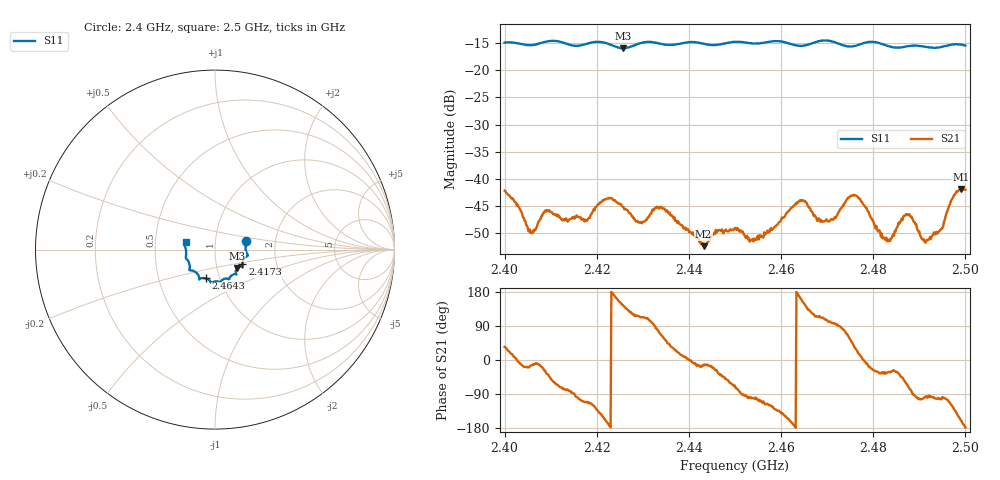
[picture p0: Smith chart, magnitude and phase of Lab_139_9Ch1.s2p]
# Hz S RI R 50
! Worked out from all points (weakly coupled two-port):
!   601 points, 2.4 GHz to 2.5 GHz, reference 50 ohm
!   highest |S21| = -41.83 dB at 2.499 GHz (marker M1); lowest = -52.4 dB at 2.4432 GHz (marker M2)
!   lowest |S11| = -15.9 dB at 2.4257 GHz (marker M3), VSWR 1.38, Z = 62.4 - j13.1 ohm
!   |S11| at or under -10 dB: start of sweep to end of sweep
!   S12 and S22 are empty: the file has one direction only
!   S11 on the Smith chart (normalised r, x): 2.4 GHz: 1.41, +0.14; 2.4173 GHz: 1.34, -0.23; 2.4643 GHz: 0.86, -0.28; 2.5 GHz: 0.72, +0.06
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2.4e9  0.1732 0.0494  0.0064 0.00445  0 0  0 0
2.405667e9  0.1701 0.00535  0.00307 -0.000794  0 0  0 0
2.409167e9  0.182 -0.0291  0.00417 -0.00307  0 0  0 0
2.416667e9  0.153 -0.0747  -0.00129 -0.00402  0 0  0 0
2.417333e9  0.1526 -0.0821  -0.00145 -0.00378  0 0  0 0
2.422167e9  0.1502 -0.0944  -0.0063 -0.00187  0 0  0 0
2.425667e9  0.1224 -0.1021  -0.0045 0.00318  0 0  0 0
2.4295e9  0.1173 -0.134  -0.00155 0.00369  0 0  0 0
2.433333e9  0.113 -0.1369  0.00116 0.00536  0 0  0 0
2.443167e9  0.0686 -0.1617  0.00232 -0.000615  0 0  0 0
2.45e9  0.0296 -0.1807  0.00133 -0.00328  0 0  0 0
2.455667e9  -0.00392 -0.1778  -0.000933 -0.00285  0 0  0 0
2.464333e9  -0.0503 -0.1603  -0.00591 0.00202  0 0  0 0
2.466667e9  -0.0761 -0.1597  -0.00279 0.00416  0 0  0 0
2.470833e9  -0.087 -0.164  -0.000667 0.0042  0 0  0 0
2.476167e9  -0.1186 -0.1192  0.00612 0.00355  0 0  0 0
2.483333e9  -0.1407 -0.0894  0.00227 -0.00139  0 0  0 0
2.487333e9  -0.1572 -0.0543  0.00206 -0.00424  0 0  0 0
2.491667e9  -0.161 -0.0287  -0.000443 -0.00272  0 0  0 0
2.494667e9  -0.1634 0.00651  -0.000694 -0.00335  0 0  0 0
2.499e9  -0.1689 0.0362  -0.00755 -0.00293  0 0  0 0
2.5e9  -0.1637 0.0423  -0.00796 -0.000323  0 0  0 0
